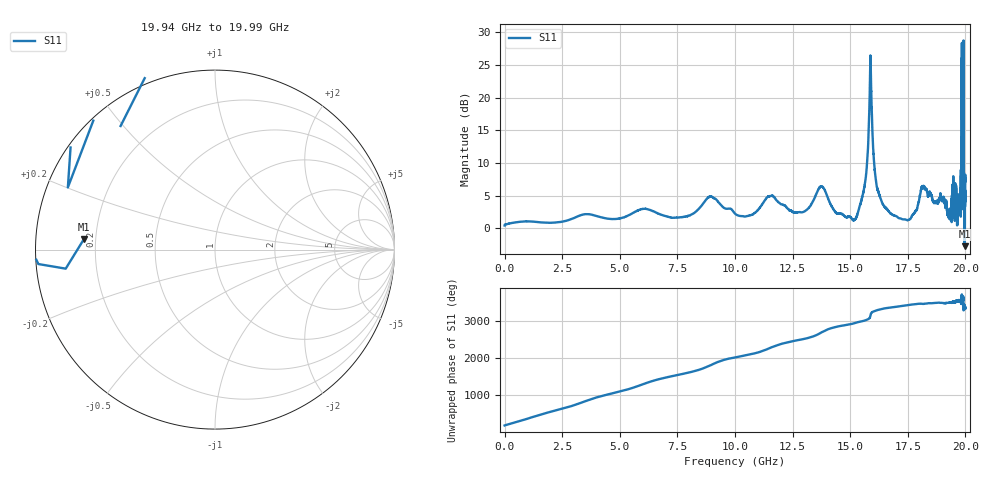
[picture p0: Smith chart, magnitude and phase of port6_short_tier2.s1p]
! Created with skrf 1.8.0 (http://scikit-rf.org).
# GHz S RI R 50.0
!freq ReS11 ImS11
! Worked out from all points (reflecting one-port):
!   10001 points, 1 MHz to 20 GHz, reference 50 ohm
!   lowest |S11| = -2.7 dB at 19.96 GHz (marker M1), VSWR 6.47, Z = 7.74 + j1.96 ohm
!   phase of S11 starts at 179 deg and turns +3162 deg over the sweep
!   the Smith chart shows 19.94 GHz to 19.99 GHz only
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0.001  -1.054 0.0118
2.500875  -0.0174 -1.127
3.384831  0.1111 1.272
4.244788  -0.2524 -1.187
5.00075  1.166 0.2536
5.844708  -1.378 0.1671
6.302685  0.0709 -1.383
7.500625  -0.1453 1.202
8.254587  -1.208 -0.5418
8.948553  1.756 0.0518
10.0005  -1.128 -0.6463
11.08245  1.448 -0.0116
11.47643  -0.1459 1.755
12.50038  0.3917 -1.279
13.26634  1.28 0.7538
13.80031  -2.081 -0.0134
15.00025  1.112 0.5127
15.60022  -0.9537 1.768
15.73621  -2.709 1.729
15.78221  -4.283 1.369
15.89421  7.411 -14.53
15.9862  4.422 0.0536
16.0462  2.931 0.854
16.22619  1.136 1.513
17.50013  -1.158 0.0439
19.74801  0.131 -1.268
19.962  -0.73 0.0588
20  -0.4575 2.367
